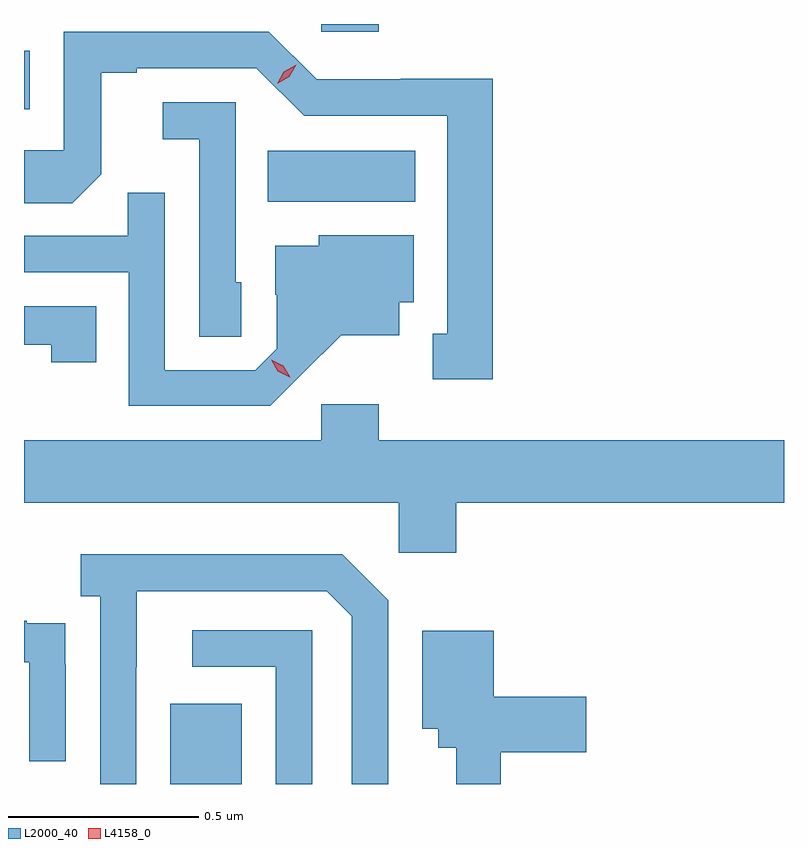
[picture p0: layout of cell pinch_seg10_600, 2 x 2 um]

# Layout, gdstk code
import gdstk
lib = gdstk.Library(unit=1e-6, precision=1e-09)
def R(c, l, rs):  # rectangles x0, y0, x1, y1
    for r in rs: c.add(gdstk.rectangle(r[:2], r[2:], *l))
def P(c, l, *ps):  # polygons
    for p in ps: c.add(gdstk.Polygon(p, *l))
L2000_40 = (2000, 40)
L4158_0 = (4158, 0)

pinch_seg10_600 = lib.new_cell('pinch_seg10_600')
R(pinch_seg10_600, L2000_40, [(310.715,1259.616,310.903,1259.827), (310.972,1261.148,311.359,1261.282), (310.33,1261.392,310.345,1261.546), (311.112,1261.595,311.264,1261.616)])
P(pinch_seg10_600, L2000_40, [(311.563,1261.472),(311.322,1261.472),(311.322,1261.47),(311.1,1261.47),(310.974,1261.596),(310.434,1261.596),(310.434,1261.284),(310.33,1261.284),(310.33,1261.144),(310.457,1261.144),(310.533,1261.22),(310.533,1261.488),(310.627,1261.488),(310.627,1261.5),(310.941,1261.5),(311.067,1261.374),(311.444,1261.374),(311.444,1260.801),(311.405,1260.801),(311.405,1260.681),(311.563,1260.681)],
  [(310.902,1260.936),(310.887,1260.936),(310.887,1261.41),(310.695,1261.41),(310.695,1261.313),(310.791,1261.313),(310.791,1260.793),(310.902,1260.793)],
  [(311.062,1260.695),(311.165,1260.797),(311.317,1260.797),(311.317,1260.884),(311.356,1260.884),(311.356,1261.06),(311.106,1261.06),(311.106,1261.033),(310.991,1261.033),(310.991,1260.904),(310.995,1260.904),(310.995,1260.762),(310.938,1260.705),(310.701,1260.705),(310.701,1261.172),(310.603,1261.172),(310.603,1261.059),(310.33,1261.059),(310.33,1260.963),(310.605,1260.963),(310.605,1260.612),(310.978,1260.612)],
  [(310.52,1260.873),(310.33,1260.873),(310.33,1260.772),(310.402,1260.772),(310.402,1260.726),(310.52,1260.726)],
  [(311.468,1260.356),(312.33,1260.356),(312.33,1260.52),(311.264,1260.52),(311.264,1260.616),(311.112,1260.616),(311.112,1260.52),(310.33,1260.52),(310.33,1260.356),(311.316,1260.356),(311.316,1260.225),(311.468,1260.225)],
  [(310.626,1259.923),(310.627,1259.923),(310.627,1260.123),(311.127,1260.123),(311.193,1260.057),(311.193,1259.616),(311.289,1259.616),(311.289,1260.099),(311.168,1260.22),(310.479,1260.22),(310.479,1260.11),(310.53,1260.11),(310.53,1259.616),(310.626,1259.616)],
  [(310.44,1259.93),(310.439,1259.93),(310.439,1260.039),(310.337,1260.039),(310.337,1260.046),(310.33,1260.046),(310.33,1259.937),(310.344,1259.937),(310.344,1259.676),(310.44,1259.676)],
  [(311.088,1260.021),(310.773,1260.021),(310.773,1259.925),(310.992,1259.925),(310.992,1259.616),(311.088,1259.616)],
  [(311.585,1259.699),(311.809,1259.699),(311.809,1259.846),(311.566,1259.846),(311.566,1260.019),(311.378,1260.019),(311.378,1259.762),(311.42,1259.762),(311.42,1259.711),(311.468,1259.711),(311.468,1259.616),(311.585,1259.616)])
P(pinch_seg10_600, L4158_0, [(310.996,1261.459),(310.996,1261.459),(311.014,1261.491),(311.046,1261.509),(311.046,1261.509),(311.046,1261.509),(311.028,1261.477),(310.996,1261.459)],
  [(311.029,1260.687),(310.998,1260.702),(310.98,1260.732),(310.98,1260.732),(310.981,1260.732),(311.012,1260.717),(311.03,1260.687),(311.03,1260.687)])

lib.write_gds('pinch_seg10_600.gds')
